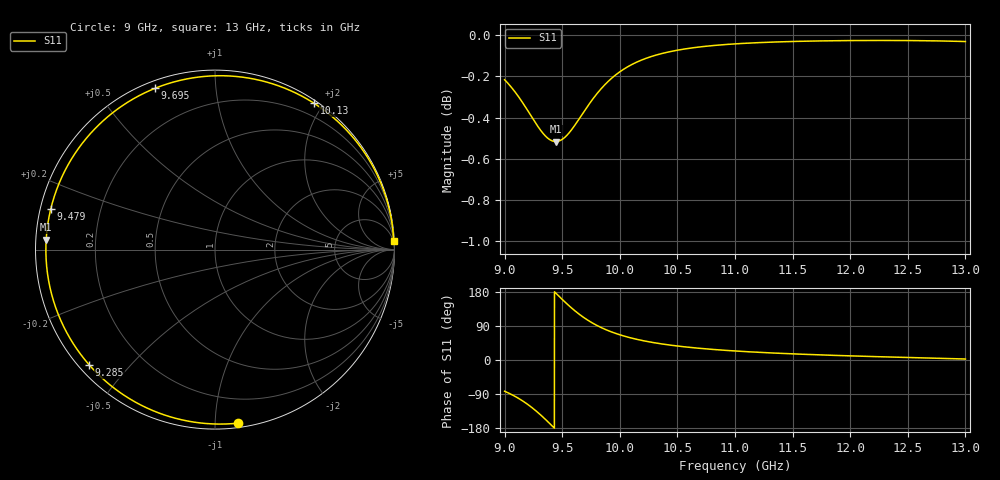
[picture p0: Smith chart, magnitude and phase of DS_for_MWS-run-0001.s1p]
! TOUCHSTONE file generated by CST DESIGN STUDIO
! Date and time: Tue Feb  4 13:10:20 2025
! Project name: C:\Work\MatlabApps\UnitCellOptimizationMatlab\CST\unitcell.cst
! Tree item: Tasks\Sweep1\SPara1\S-Parameters
! Header version: 2024
! Port assignment regex: !\s*Touchstone port\s*([0-9]+)\s*=\s*(CST MWS port|CST DES external port|CST DES block port)\s*(.+)\s* \(\"(.*)\"\)(\s*mode\s*([0-9]+))?.*
! Touchstone port assignment:
! Touchstone port 1 = CST DES external port 1 ("")
# GHz S MA R 50
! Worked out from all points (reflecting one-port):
!   4001 points, 9 GHz to 13 GHz, reference 50 ohm
!   lowest |S11| = -0.5 dB at 9.444 GHz (marker M1), VSWR 33.62, Z = 1.49 + j1.47 ohm
!   phase of S11 starts at -82 deg and turns -275 deg over the sweep
!   S11 on the Smith chart (normalised r, x): 9 GHz: 0.03, -1.14; 9.285 GHz: 0.03, -0.39; 9.479 GHz: 0.03, +0.12; 9.695 GHz: 0.03, +0.69; 10.13 GHz: 0.04, +1.88; 13 GHz: 3, +43
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9  0.9754 -82.4
9.087  0.9691 -95.4
9.159  0.9627 -108.5
9.224  0.9564 -122.5
9.285  0.9506 -137.5
9.33  0.9468 -149.7
9.37  0.9442 -161.2
9.407  0.9427 -172.2
9.444  0.9422 176.6
9.479  0.9427 166.1
9.5  0.9434 159.9
9.551  0.9462 145.4
9.598  0.9499 132.9
9.645  0.9541 121.4
9.695  0.9587 110.5
9.753  0.9639 99.3
9.819  0.9691 88.4
9.907  0.975 76.6
10  0.9797 66.6
10.127  0.9845 56.0
10.295  0.9886 45.8
10.5  0.9917 36.9
10.723  0.9937 30.0
11  0.9952 23.8
11.5  0.9965 16.2
12  0.997 10.9
12.5  0.997 6.6
13  0.9965 2.6
